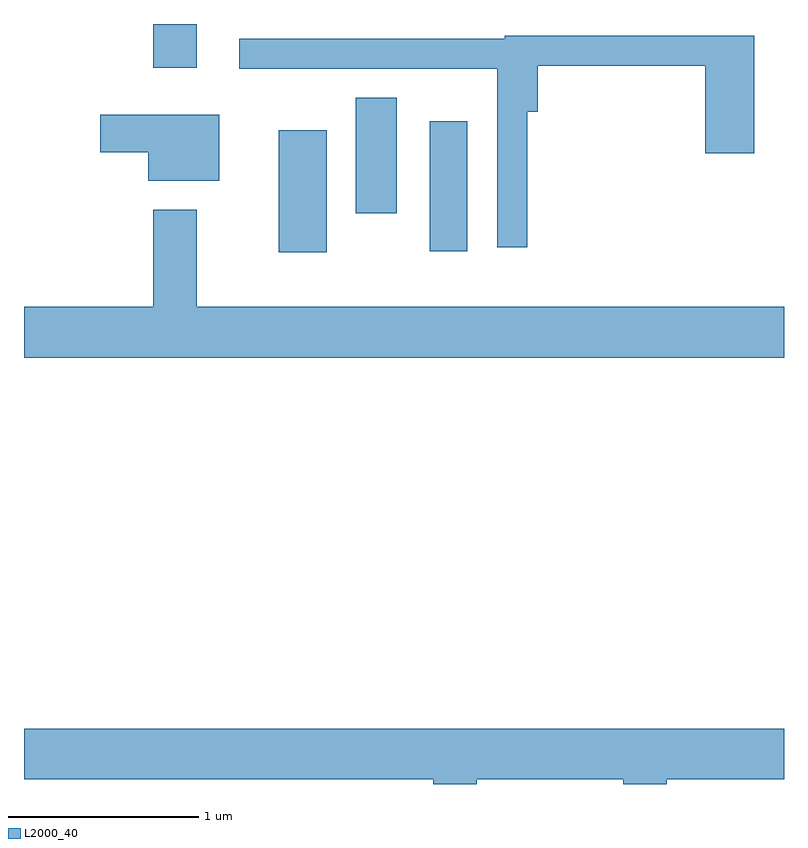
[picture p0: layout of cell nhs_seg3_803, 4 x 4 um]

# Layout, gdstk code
import gdstk
lib = gdstk.Library(unit=1e-6, precision=1e-09)
def R(c, l, rs):  # rectangles x0, y0, x1, y1
    for r in rs: c.add(gdstk.rectangle(r[:2], r[2:], *l))
def P(c, l, *ps):  # polygons
    for p in ps: c.add(gdstk.Polygon(p, *l))
L2000_40 = (2000, 40)

nhs_seg3_803 = lib.new_cell('nhs_seg3_803')
R(nhs_seg3_803, L2000_40, [(208.951,1228.691,209.204,1229.334), (209.746,1228.696,209.944,1229.379), (209.356,1228.896,209.574,1229.504), (208.291,1229.661,208.519,1229.892)])
P(nhs_seg3_803, L2000_40, [(210.259,1229.431),(210.314,1229.431),(210.314,1229.671),(211.196,1229.671),(211.196,1229.211),(211.454,1229.211),(211.454,1229.829),(210.14,1229.829),(210.14,1229.814),(208.743,1229.814),(208.743,1229.656),(210.101,1229.656),(210.101,1228.718),(210.259,1228.718)],
  [(208.639,1229.414),(208.011,1229.414),(208.011,1229.216),(208.266,1229.216),(208.266,1229.066),(208.639,1229.066)],
  [(211.611,1228.404),(208.519,1228.404),(208.519,1228.914),(208.291,1228.914),(208.291,1228.404),(207.611,1228.404),(207.611,1228.136),(211.611,1228.136)],
  [(209.994,1225.916),(210.766,1225.916),(210.766,1225.892),(210.994,1225.892),(210.994,1225.916),(211.611,1225.916),(211.611,1226.184),(207.611,1226.184),(207.611,1225.916),(209.766,1225.916),(209.766,1225.892),(209.994,1225.892)])

lib.write_gds('nhs_seg3_803.gds')
